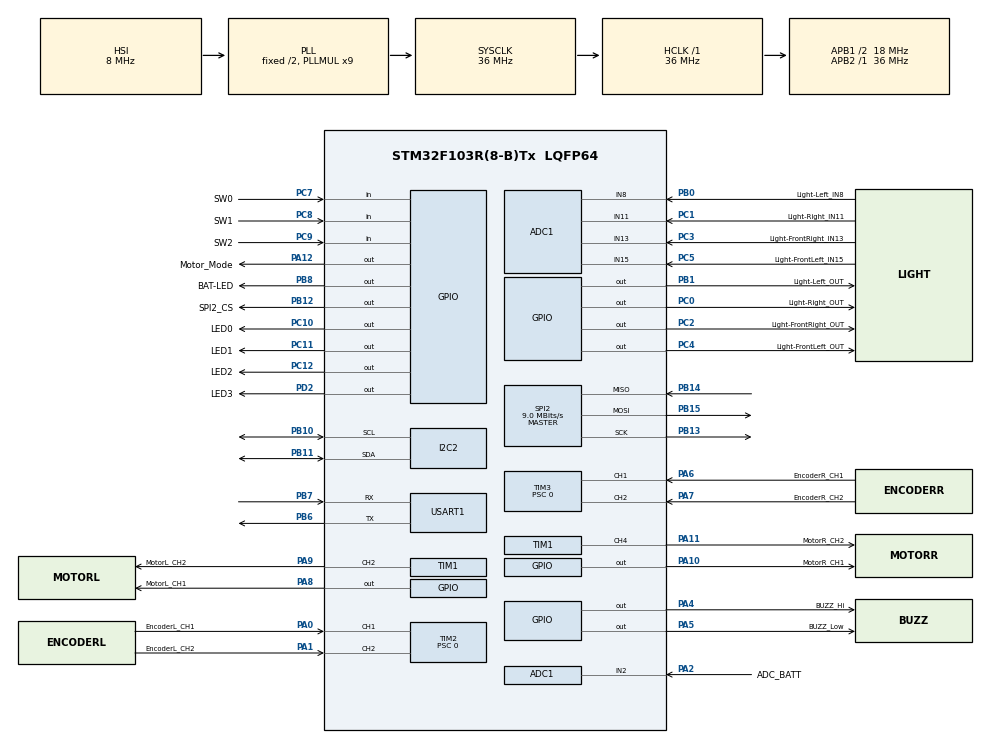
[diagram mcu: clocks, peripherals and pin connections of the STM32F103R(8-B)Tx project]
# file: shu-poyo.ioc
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Mcu.Family=STM32F1
SH.S_TIM1_CH4.0=TIM1_CH4,PWM Generation4 CH4
SPI2.VirtualType=VM_MASTER
PB10.Mode=I2C
SH.ADCx_IN2.0=ADC1_IN2,IN2
ADC1.SamplingTime-6\#ChannelRegularConversion=ADC_SAMPLETIME_28CYCLES_5
PC10.Signal=GPIO_Output
PC12.Signal=GPIO_Output
TIM3.EncoderMode=TIM_ENCODERMODE_TI1
PC0.GPIO_Label=Light-Right_OUT
PA6.GPIO_Label=EncoderR_CH1
PB0.GPIO_Label=Light-Left_IN8
TIM2.EncoderMode=TIM_ENCODERMODE_TI1
PB11.Signal=I2C2_SDA
PB13.Signal=SPI2_SCK
PB15.Signal=SPI2_MOSI
ADC1.Channel-8\#ChannelRegularConversion=ADC_CHANNEL_8
RCC.SYSCLKSource=RCC_SYSCLKSOURCE_PLLCLK
ProjectManager.StackSize=0x400
PD1-OSC_OUT.Signal=RCC_OSC_OUT
PA12.Signal=GPIO_Output
TIM1.Prescaler=1-1
ADC1.Channel-5\#ChannelRegularConversion=ADC_CHANNEL_13
TIM1.Channel-PWM\ Generation4\ CH4=TIM_CHANNEL_4
ADC1.Channel-3\#ChannelRegularConversion=ADC_CHANNEL_15
RCC.HCLKFreq_Value=36000000
RCC.APB2TimFreq_Value=36000000
PB6.Signal=USART1_TX
ADC1.Channel-2\#ChannelRegularConversion=ADC_CHANNEL_11
PC7.Signal=GPIO_Input
PB6.Mode=Asynchronous
PC3.Signal=ADCx_IN13
RCC.AHBFreq_Value=36000000
SPI2.BaudRatePrescaler=SPI_BAUDRATEPRESCALER_2
SH.ADCx_IN15.0=ADC1_IN15,IN15
RCC.PLLMUL=RCC_PLL_MUL9
PB12.GPIO_Label=SPI2_CS
ADC1.SamplingTime-4\#ChannelRegularConversion=ADC_SAMPLETIME_28CYCLES_5
ADC1.Channel-6\#ChannelRegularConversion=ADC_CHANNEL_13
ADC1.Rank-2\#ChannelRegularConversion=2
PC14-OSC32_IN.Mode=LSE-External-Oscillator
PC4.GPIO_Label=Light-FrontLeft_OUT
PA14.Mode=Serial_Wire
PB14.Mode=Full_Duplex_Master
TIM3.Prescaler=0
PB1.GPIO_Label=Light-Left_OUT
PC11.GPIO_Label=LED1
PA10.GPIO_Label=MotorR_CH1
SH.ADCx_IN8.0=ADC1_IN8,IN8
SPI2.CalculateBaudRate=9.0 MBits/s
PB7.Signal=USART1_RX
PA8.Signal=GPIO_Output
SH.S_TIM3_CH1.0=TIM3_CH1,Encoder_Interface
TIM4.Period=1000-1
VP_TIM1_VS_ClockSourceINT.Mode=Internal
Mcu.Package=LQFP64
TIM2.Prescaler=0
PB1.Signal=GPIO_Output
PA6.Signal=S_TIM3_CH1
SPI2.Mode=SPI_MODE_MASTER
PA2.GPIO_Label=ADC_BATT
PA10.Signal=GPIO_Output
RCC.APB1TimFreq_Value=36000000
SPI2.Direction=SPI_DIRECTION_2LINES
PC5.Signal=ADCx_IN15
TIM1.Period=360-1
PB13.Mode=Full_Duplex_Master
ADC1.Rank-6\#ChannelRegularConversion=6
ADC1.SamplingTime-8\#ChannelRegularConversion=ADC_SAMPLETIME_28CYCLES_5
PA4.GPIO_Label=BUZZ_Hi
PC2.GPIO_Label=Light-FrontRight_OUT
ADC1.Rank-4\#ChannelRegularConversion=4
PC15-OSC32_OUT.Mode=LSE-External-Oscillator
SH.ADCx_IN13.0=ADC1_IN13,IN13
PD1-OSC_OUT.Mode=HSE-External-Oscillator
ADC1.Channel-4\#ChannelRegularConversion=ADC_CHANNEL_15
PC10.GPIO_Label=LED0
PC9.GPIO_Label=SW2
ADC1.Rank-8\#ChannelRegularConversion=8
PC11.Signal=GPIO_Output
PA9.GPIO_Label=MotorL_CH2
PC8.Signal=GPIO_Input
PC2.Signal=GPIO_Output
PC4.Signal=GPIO_Output
ADC1.DiscontinuousConvMode=ENABLE
PA11.GPIO_Label=MotorR_CH2
PD0-OSC_IN.Signal=RCC_OSC_IN
PC0.Signal=GPIO_Output
RCC.APB1CLKDivider=RCC_HCLK_DIV2
PC14-OSC32_IN.Signal=RCC_OSC32_IN
PA12.GPIO_Label=Motor_Mode
ADC1.SamplingTime-2\#ChannelRegularConversion=ADC_SAMPLETIME_28CYCLES_5
PA0-WKUP.GPIO_Label=EncoderL_CH1
PA0-WKUP.Signal=S_TIM2_CH1_ETR
ADC1.Channel-7\#ChannelRegularConversion=ADC_CHANNEL_8
RCC.ADCPresc=RCC_ADCPCLK2_DIV6
PC8.GPIO_Label=SW1
PA13.Signal=SYS_JTMS-SWDIO
PB8.GPIO_Label=BAT-LED
SH.S_TIM2_CH2.0=TIM2_CH2,Encoder_Interface
PA8.GPIO_Label=MotorL_CH1
PB11.Mode=I2C
ProjectManager.TargetToolchain=STM32CubeIDE
PA9.Signal=S_TIM1_CH2
ADC1.Channel-1\#ChannelRegularConversion=ADC_CHANNEL_11
TIM1.Channel-PWM\ Generation2\ CH2=TIM_CHANNEL_2
RCC.USBFreq_Value=36000000
TIM4.Prescaler=35
PC15-OSC32_OUT.Signal=RCC_OSC32_OUT
PA1.Signal=S_TIM2_CH2
PD0-OSC_IN.Mode=HSE-External-Oscillator
PB10.Signal=I2C2_SCL
PB14.Signal=SPI2_MISO
PA5.Signal=GPIO_Output
SH.S_TIM3_CH2.0=TIM3_CH2,Encoder_Interface
board=custom
PB15.Mode=Full_Duplex_Master
RCC.APB2Freq_Value=36000000
SH.ADCx_IN11.0=ADC1_IN11,IN11
SH.S_TIM1_CH2.0=TIM1_CH2,PWM Generation2 CH2
PA1.GPIO_Label=EncoderL_CH2
PC1.GPIO_Label=Light-Right_IN11
TIM2.Period=65535
ADC1.Rank-9\#ChannelRegularConversion=9
ADC1.NbrOfConversion=9
PA13.Mode=Serial_Wire
Mcu.Name=STM32F103R(8-B)Tx
PA2.Signal=ADCx_IN2
ADC1.Channel-9\#ChannelRegularConversion=ADC_CHANNEL_2
PC7.GPIO_Label=SW0
PA4.Signal=GPIO_Output
ADC1.SamplingTime-1\#ChannelRegularConversion=ADC_SAMPLETIME_28CYCLES_5
RCC.SYSCLKFreq_VALUE=36000000
PA7.GPIO_Label=EncoderR_CH2
ADC1.master=1
PA5.GPIO_Label=BUZZ_Low
ADC1.Rank-3\#ChannelRegularConversion=3
ADC1.SamplingTime-3\#ChannelRegularConversion=ADC_SAMPLETIME_28CYCLES_5
PC5.GPIO_Label=Light-FrontLeft_IN15
PC12.GPIO_Label=LED2
USART1.VirtualMode=VM_ASYNC
ADC1.Rank-1\#ChannelRegularConversion=1
PA11.Signal=S_TIM1_CH4
PB7.Mode=Asynchronous
SH.S_TIM2_CH1_ETR.0=TIM2_CH1,Encoder_Interface
PA14.Signal=SYS_JTCK-SWCLK
ProjectManager.HeapSize=0x200
ADC1.SamplingTime-5\#ChannelRegularConversion=ADC_SAMPLETIME_28CYCLES_5
VP_TIM4_VS_ClockSourceINT.Mode=Internal
ADC1.Rank-7\#ChannelRegularConversion=7
NVIC.PriorityGroup=NVIC_PRIORITYGROUP_4
ADC1.NbrOfConversionFlag=1
PB8.Signal=GPIO_Output
PC3.GPIO_Label=Light-FrontRight_IN13
ADC1.SamplingTime-9\#ChannelRegularConversion=ADC_SAMPLETIME_28CYCLES_5
PC9.Signal=GPIO_Input
ADC1.SamplingTime-7\#ChannelRegularConversion=ADC_SAMPLETIME_28CYCLES_5
PD2.Signal=GPIO_Output
NVIC.TIM4_IRQn=true\:0\:0\:false\:false\:true\:true\:true
RCC.APB1Freq_Value=18000000
PB0.Signal=ADCx_IN8
ADC1.Rank-5\#ChannelRegularConversion=5
PC1.Signal=ADCx_IN11
PB12.Signal=GPIO_Output
PD2.GPIO_Label=LED3
PA7.Signal=S_TIM3_CH2

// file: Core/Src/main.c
/* USER CODE BEGIN Header */
/**
  ******************************************************************************
  * @file           : main.c
  * @brief          : Main program body
  ******************************************************************************
  * @attention
  *
  * <h2><center>&copy; Copyright (c) 2021 STMicroelectronics.
  * All rights reserved.</center></h2>
  *
  * This software component is licensed by ST under BSD 3-Clause license,
  * the "License"; You may not use this file except in compliance with the
  * License. You may obtain a copy of the License at:
  *                        opensource.org/licenses/BSD-3-Clause
  *
  ******************************************************************************
  */
/* USER CODE END Header */
#include "main.h"

/* USER CODE BEGIN Includes */
#include "global_var.h"
#include "parameters.h"

#include "adc_batt.h"
#include "motors.h"
#include "sensors.h"

#include "adjust.h"
#include "run.h"
/* USER CODE END Includes */

ADC_HandleTypeDef hadc1;

I2C_HandleTypeDef hi2c2;

SPI_HandleTypeDef hspi2;

TIM_HandleTypeDef htim1;
TIM_HandleTypeDef htim2;
TIM_HandleTypeDef htim3;
TIM_HandleTypeDef htim4;

UART_HandleTypeDef huart1;

void SystemClock_Config(void);
static void MX_GPIO_Init(void);
static void MX_TIM1_Init(void);
static void MX_TIM2_Init(void);
static void MX_TIM3_Init(void);
static void MX_TIM4_Init(void);
static void MX_ADC1_Init(void);
static void MX_USART1_UART_Init(void);
static void MX_I2C2_Init(void);
static void MX_SPI2_Init(void);

/* USER CODE BEGIN 0 */
int __io_putchar(int ch){
  HAL_UART_Transmit(&huart1, (uint8_t *)&ch, 1, 100);
  return ch;
}

void mode_LED(int mode){
  if(mode&0x01){
    LED1_ON;
  }else{
    LED1_OFF;
  }
  if((mode>>1)&0x01){
    LED2_ON;
  }else{
    LED2_OFF;
  }
  if((mode>>2)&0x01){
    LED3_ON;
  }else{
    LED3_OFF;
  }
}

void exec_mode(int mode){
  // Clears the terminal
  printf("\x1b[2J");
  // Moves the cursor to 0, 0 of the terminal
  printf("\x1b[0;0H");
  mode_LED(0);
  HAL_Delay(50);
  start_motors();
  HAL_Delay(50);

  switch(mode){
    case 1:
      straight(HALF_SECTION, SEARCH_ACCEL, 0.0, SEARCH_SPEED, 0.0);
      break;
    case 2:
      get_encoder_val();
      motor_encode_init();
      break;
    case 3:
      break;
    case 4:
      // Testing a couple of things here
      back(HALF_SECTION*0.2, SEARCH_ACCEL*0.5, 0.0, SEARCH_SPEED*0.5, 0.0);
      HAL_Delay(50);
      straight(HALF_SECTION*0.4, SEARCH_ACCEL*0.5, 0.0, SEARCH_SPEED*0.5, 0.0);
      HAL_Delay(50);
      test_left_hand(SEARCH_ACCEL, 0.0, SEARCH_SPEED);
      break;
    case 5:
      // Get the sensor values
      stop_motors();
      while(1){
        get_sensor_values();
        get_encoder_val();
        HAL_Delay(50);
        printf("\x1B[2J"); // Clears the terminal
        printf("\x1B[0;0H"); // Moves the cursor to the top
      }
      break;
    case 6:
      // straight(HALF_SECTION, SEARCH_ACCEL, 0.0, SEARCH_SPEED, 0.0);
      NEXT_DIR = NEXT_LEFT;
      rotate(NEXT_DIR, 1);
      break;
    case 7:
      run_to_wall(SEARCH_ACCEL, 0.0, SEARCH_SPEED);
      break;
  }

  stop_motors();
}
/* USER CODE END 0 */

int main(void)
{

  /* MCU Configuration--------------------------------------------------------*/

  /* Reset of all peripherals, Initializes the Flash interface and the Systick. */
  HAL_Init();

  /* Configure the system clock */
  SystemClock_Config();

  /* Initialize all configured peripherals */
  MX_GPIO_Init();
  MX_TIM1_Init();
  MX_TIM2_Init();
  MX_TIM3_Init();
  MX_TIM4_Init();
  MX_ADC1_Init();
  MX_USART1_UART_Init();
  MX_I2C2_Init();
  MX_SPI2_Init();
  /* USER CODE BEGIN 2 */
  // Printf thing
  setbuf(stdout, NULL);
  int mode = 1;
  // Buzzer things
  BUZZER_LO_OFF;
  BUZZER_HI_OFF;
  // Motor settings
  MOTOR_MODE_SET_PE;
  stop_motors();
  // Initiate the parameters
  duty_rate = 0.0;
  sensors_init();
  speed_val_init();
  motor_encode_init();
  // Start the encoders
  HAL_TIM_Encoder_Start(&htim2, TIM_CHANNEL_ALL);
  HAL_TIM_Encoder_Start(&htim3, TIM_CHANNEL_ALL);
  // Start TIM4
  HAL_TIM_Base_Start_IT(&htim4);
  // Turns LED0 ON!
  LED0_ON;
  printf("Initiated! \n\r");
  /* USER CODE END 2 */

  /* Infinite loop */
  /* USER CODE BEGIN WHILE */
  while (1)
  {
    HAL_Delay(CHATTERING_WAIT);
    while(!(READ_SW0 & READ_SW1 & READ_SW2));

    mode_LED(mode);

    HAL_Delay(CHATTERING_WAIT);
    while((READ_SW0 & READ_SW1 & READ_SW2));

    if(READ_SW2 == SW_ON){
      // Decrease the mode
      // Making sure it doesn't go below 1
      mode--;
      if(mode < 1) mode = 1;

    }else if(READ_SW1 == SW_ON){

      exec_mode(mode);

    }else if(READ_SW0 == SW_ON){
      // Increase the mode
      // Making sure it doesn't go above 7
      mode++;
      if(mode > 7) mode = 7;

    }

    /* USER CODE END WHILE */

    /* USER CODE BEGIN 3 */
    // TODO: Toggle the LED every second. it might be good to add this in adc_batt.c
    // if(!BATT_LEVEL) LED0_OFF;
  }
  /* USER CODE END 3 */
}

void SystemClock_Config(void)
{
  RCC_OscInitTypeDef RCC_OscInitStruct = {0};
  RCC_ClkInitTypeDef RCC_ClkInitStruct = {0};
  RCC_PeriphCLKInitTypeDef PeriphClkInit = {0};

  /** Initializes the RCC Oscillators according to the specified parameters
  * in the RCC_OscInitTypeDef structure.
  */
  RCC_OscInitStruct.OscillatorType = RCC_OSCILLATORTYPE_HSI;
  RCC_OscInitStruct.HSIState = RCC_HSI_ON;
  RCC_OscInitStruct.HSICalibrationValue = RCC_HSICALIBRATION_DEFAULT;
  RCC_OscInitStruct.PLL.PLLState = RCC_PLL_ON;
  RCC_OscInitStruct.PLL.PLLSource = RCC_PLLSOURCE_HSI_DIV2;
  RCC_OscInitStruct.PLL.PLLMUL = RCC_PLL_MUL9;
  if (HAL_RCC_OscConfig(&RCC_OscInitStruct) != HAL_OK)
  {
    Error_Handler();
  }
  /** Initializes the CPU, AHB and APB buses clocks
  */
  RCC_ClkInitStruct.ClockType = RCC_CLOCKTYPE_HCLK|RCC_CLOCKTYPE_SYSCLK
                              |RCC_CLOCKTYPE_PCLK1|RCC_CLOCKTYPE_PCLK2;
  RCC_ClkInitStruct.SYSCLKSource = RCC_SYSCLKSOURCE_PLLCLK;
  RCC_ClkInitStruct.AHBCLKDivider = RCC_SYSCLK_DIV1;
  RCC_ClkInitStruct.APB1CLKDivider = RCC_HCLK_DIV2;
  RCC_ClkInitStruct.APB2CLKDivider = RCC_HCLK_DIV1;

  if (HAL_RCC_ClockConfig(&RCC_ClkInitStruct, FLASH_LATENCY_1) != HAL_OK)
  {
    Error_Handler();
  }
  PeriphClkInit.PeriphClockSelection = RCC_PERIPHCLK_ADC;
  PeriphClkInit.AdcClockSelection = RCC_ADCPCLK2_DIV6;
  if (HAL_RCCEx_PeriphCLKConfig(&PeriphClkInit) != HAL_OK)
  {
    Error_Handler();
  }
}

static void MX_ADC1_Init(void)
{

  ADC_ChannelConfTypeDef sConfig = {0};

  /** Common config
  */
  hadc1.Instance = ADC1;
  hadc1.Init.ScanConvMode = ADC_SCAN_ENABLE;
  hadc1.Init.ContinuousConvMode = DISABLE;
  hadc1.Init.DiscontinuousConvMode = ENABLE;
  hadc1.Init.NbrOfDiscConversion = 1;
  hadc1.Init.ExternalTrigConv = ADC_SOFTWARE_START;
  hadc1.Init.DataAlign = ADC_DATAALIGN_RIGHT;
  hadc1.Init.NbrOfConversion = 9;
  if (HAL_ADC_Init(&hadc1) != HAL_OK)
  {
    Error_Handler();
  }
  /** Configure Regular Channel
  */
  sConfig.Channel = ADC_CHANNEL_11;
  sConfig.Rank = ADC_REGULAR_RANK_1;
  sConfig.SamplingTime = ADC_SAMPLETIME_28CYCLES_5;
  if (HAL_ADC_ConfigChannel(&hadc1, &sConfig) != HAL_OK)
  {
    Error_Handler();
  }
  /** Configure Regular Channel
  */
  sConfig.Rank = ADC_REGULAR_RANK_2;
  if (HAL_ADC_ConfigChannel(&hadc1, &sConfig) != HAL_OK)
  {
    Error_Handler();
  }
  /** Configure Regular Channel
  */
  sConfig.Channel = ADC_CHANNEL_15;
  sConfig.Rank = ADC_REGULAR_RANK_3;
  if (HAL_ADC_ConfigChannel(&hadc1, &sConfig) != HAL_OK)
  {
    Error_Handler();
  }
  /** Configure Regular Channel
  */
  sConfig.Rank = ADC_REGULAR_RANK_4;
  if (HAL_ADC_ConfigChannel(&hadc1, &sConfig) != HAL_OK)
  {
    Error_Handler();
  }
  /** Configure Regular Channel
  */
  sConfig.Channel = ADC_CHANNEL_13;
  sConfig.Rank = ADC_REGULAR_RANK_5;
  if (HAL_ADC_ConfigChannel(&hadc1, &sConfig) != HAL_OK)
  {
    Error_Handler();
  }
  /** Configure Regular Channel
  */
  sConfig.Rank = ADC_REGULAR_RANK_6;
  if (HAL_ADC_ConfigChannel(&hadc1, &sConfig) != HAL_OK)
  {
    Error_Handler();
  }
  /** Configure Regular Channel
  */
  sConfig.Channel = ADC_CHANNEL_8;
  sConfig.Rank = ADC_REGULAR_RANK_7;
  if (HAL_ADC_ConfigChannel(&hadc1, &sConfig) != HAL_OK)
  {
    Error_Handler();
  }
  /** Configure Regular Channel
  */
  sConfig.Rank = ADC_REGULAR_RANK_8;
  if (HAL_ADC_ConfigChannel(&hadc1, &sConfig) != HAL_OK)
  {
    Error_Handler();
  }
  /** Configure Regular Channel
  */
  sConfig.Channel = ADC_CHANNEL_2;
  sConfig.Rank = ADC_REGULAR_RANK_9;
  if (HAL_ADC_ConfigChannel(&hadc1, &sConfig) != HAL_OK)
  {
    Error_Handler();
  }

}

static void MX_I2C2_Init(void)
{

  hi2c2.Instance = I2C2;
  hi2c2.Init.ClockSpeed = 100000;
  hi2c2.Init.DutyCycle = I2C_DUTYCYCLE_2;
  hi2c2.Init.OwnAddress1 = 0;
  hi2c2.Init.AddressingMode = I2C_ADDRESSINGMODE_7BIT;
  hi2c2.Init.DualAddressMode = I2C_DUALADDRESS_DISABLE;
  hi2c2.Init.OwnAddress2 = 0;
  hi2c2.Init.GeneralCallMode = I2C_GENERALCALL_DISABLE;
  hi2c2.Init.NoStretchMode = I2C_NOSTRETCH_DISABLE;
  if (HAL_I2C_Init(&hi2c2) != HAL_OK)
  {
    Error_Handler();
  }

}

static void MX_SPI2_Init(void)
{

  /* SPI2 parameter configuration*/
  hspi2.Instance = SPI2;
  hspi2.Init.Mode = SPI_MODE_MASTER;
  hspi2.Init.Direction = SPI_DIRECTION_2LINES;
  hspi2.Init.DataSize = SPI_DATASIZE_8BIT;
  hspi2.Init.CLKPolarity = SPI_POLARITY_LOW;
  hspi2.Init.CLKPhase = SPI_PHASE_1EDGE;
  hspi2.Init.NSS = SPI_NSS_SOFT;
  hspi2.Init.BaudRatePrescaler = SPI_BAUDRATEPRESCALER_2;
  hspi2.Init.FirstBit = SPI_FIRSTBIT_MSB;
  hspi2.Init.TIMode = SPI_TIMODE_DISABLE;
  hspi2.Init.CRCCalculation = SPI_CRCCALCULATION_DISABLE;
  hspi2.Init.CRCPolynomial = 10;
  if (HAL_SPI_Init(&hspi2) != HAL_OK)
  {
    Error_Handler();
  }

}

static void MX_TIM1_Init(void)
{

  TIM_ClockConfigTypeDef sClockSourceConfig = {0};
  TIM_MasterConfigTypeDef sMasterConfig = {0};
  TIM_OC_InitTypeDef sConfigOC = {0};
  TIM_BreakDeadTimeConfigTypeDef sBreakDeadTimeConfig = {0};

  htim1.Instance = TIM1;
  htim1.Init.Prescaler = 1-1;
  htim1.Init.CounterMode = TIM_COUNTERMODE_UP;
  htim1.Init.Period = 360-1;
  htim1.Init.ClockDivision = TIM_CLOCKDIVISION_DIV1;
  htim1.Init.RepetitionCounter = 0;
  htim1.Init.AutoReloadPreload = TIM_AUTORELOAD_PRELOAD_DISABLE;
  if (HAL_TIM_Base_Init(&htim1) != HAL_OK)
  {
    Error_Handler();
  }
  sClockSourceConfig.ClockSource = TIM_CLOCKSOURCE_INTERNAL;
  if (HAL_TIM_ConfigClockSource(&htim1, &sClockSourceConfig) != HAL_OK)
  {
    Error_Handler();
  }
  if (HAL_TIM_PWM_Init(&htim1) != HAL_OK)
  {
    Error_Handler();
  }
  sMasterConfig.MasterOutputTrigger = TIM_TRGO_RESET;
  sMasterConfig.MasterSlaveMode = TIM_MASTERSLAVEMODE_DISABLE;
  if (HAL_TIMEx_MasterConfigSynchronization(&htim1, &sMasterConfig) != HAL_OK)
  {
    Error_Handler();
  }
  sConfigOC.OCMode = TIM_OCMODE_PWM1;
  sConfigOC.Pulse = 0;
  sConfigOC.OCPolarity = TIM_OCPOLARITY_HIGH;
  sConfigOC.OCNPolarity = TIM_OCNPOLARITY_HIGH;
  sConfigOC.OCFastMode = TIM_OCFAST_DISABLE;
  sConfigOC.OCIdleState = TIM_OCIDLESTATE_RESET;
  sConfigOC.OCNIdleState = TIM_OCNIDLESTATE_RESET;
  if (HAL_TIM_PWM_ConfigChannel(&htim1, &sConfigOC, TIM_CHANNEL_2) != HAL_OK)
  {
    Error_Handler();
  }
  if (HAL_TIM_PWM_ConfigChannel(&htim1, &sConfigOC, TIM_CHANNEL_4) != HAL_OK)
  {
    Error_Handler();
  }
  sBreakDeadTimeConfig.OffStateRunMode = TIM_OSSR_DISABLE;
  sBreakDeadTimeConfig.OffStateIDLEMode = TIM_OSSI_DISABLE;
  sBreakDeadTimeConfig.LockLevel = TIM_LOCKLEVEL_OFF;
  sBreakDeadTimeConfig.DeadTime = 0;
  sBreakDeadTimeConfig.BreakState = TIM_BREAK_DISABLE;
  sBreakDeadTimeConfig.BreakPolarity = TIM_BREAKPOLARITY_HIGH;
  sBreakDeadTimeConfig.AutomaticOutput = TIM_AUTOMATICOUTPUT_DISABLE;
  if (HAL_TIMEx_ConfigBreakDeadTime(&htim1, &sBreakDeadTimeConfig) != HAL_OK)
  {
    Error_Handler();
  }
  HAL_TIM_MspPostInit(&htim1);

}

static void MX_TIM2_Init(void)
{

  TIM_Encoder_InitTypeDef sConfig = {0};
  TIM_MasterConfigTypeDef sMasterConfig = {0};

  htim2.Instance = TIM2;
  htim2.Init.Prescaler = 0;
  htim2.Init.CounterMode = TIM_COUNTERMODE_UP;
  htim2.Init.Period = 65535;
  htim2.Init.ClockDivision = TIM_CLOCKDIVISION_DIV1;
  htim2.Init.AutoReloadPreload = TIM_AUTORELOAD_PRELOAD_DISABLE;
  sConfig.EncoderMode = TIM_ENCODERMODE_TI1;
  sConfig.IC1Polarity = TIM_ICPOLARITY_RISING;
  sConfig.IC1Selection = TIM_ICSELECTION_DIRECTTI;
  sConfig.IC1Prescaler = TIM_ICPSC_DIV1;
  sConfig.IC1Filter = 0;
  sConfig.IC2Polarity = TIM_ICPOLARITY_RISING;
  sConfig.IC2Selection = TIM_ICSELECTION_DIRECTTI;
  sConfig.IC2Prescaler = TIM_ICPSC_DIV1;
  sConfig.IC2Filter = 0;
  if (HAL_TIM_Encoder_Init(&htim2, &sConfig) != HAL_OK)
  {
    Error_Handler();
  }
  sMasterConfig.MasterOutputTrigger = TIM_TRGO_RESET;
  sMasterConfig.MasterSlaveMode = TIM_MASTERSLAVEMODE_DISABLE;
  if (HAL_TIMEx_MasterConfigSynchronization(&htim2, &sMasterConfig) != HAL_OK)
  {
    Error_Handler();
  }

}

static void MX_TIM3_Init(void)
{

  TIM_Encoder_InitTypeDef sConfig = {0};
  TIM_MasterConfigTypeDef sMasterConfig = {0};

  htim3.Instance = TIM3;
  htim3.Init.Prescaler = 0;
  htim3.Init.CounterMode = TIM_COUNTERMODE_UP;
  htim3.Init.Period = 65535;
  htim3.Init.ClockDivision = TIM_CLOCKDIVISION_DIV1;
  htim3.Init.AutoReloadPreload = TIM_AUTORELOAD_PRELOAD_DISABLE;
  sConfig.EncoderMode = TIM_ENCODERMODE_TI1;
  sConfig.IC1Polarity = TIM_ICPOLARITY_RISING;
  sConfig.IC1Selection = TIM_ICSELECTION_DIRECTTI;
  sConfig.IC1Prescaler = TIM_ICPSC_DIV1;
  sConfig.IC1Filter = 0;
  sConfig.IC2Polarity = TIM_ICPOLARITY_RISING;
  sConfig.IC2Selection = TIM_ICSELECTION_DIRECTTI;
  sConfig.IC2Prescaler = TIM_ICPSC_DIV1;
  sConfig.IC2Filter = 0;
  if (HAL_TIM_Encoder_Init(&htim3, &sConfig) != HAL_OK)
  {
    Error_Handler();
  }
  sMasterConfig.MasterOutputTrigger = TIM_TRGO_RESET;
  sMasterConfig.MasterSlaveMode = TIM_MASTERSLAVEMODE_DISABLE;
  if (HAL_TIMEx_MasterConfigSynchronization(&htim3, &sMasterConfig) != HAL_OK)
  {
    Error_Handler();
  }

}

static void MX_TIM4_Init(void)
{

  TIM_ClockConfigTypeDef sClockSourceConfig = {0};
  TIM_MasterConfigTypeDef sMasterConfig = {0};

  htim4.Instance = TIM4;
  htim4.Init.Prescaler = 35;
  htim4.Init.CounterMode = TIM_COUNTERMODE_UP;
  htim4.Init.Period = 1000-1;
  htim4.Init.ClockDivision = TIM_CLOCKDIVISION_DIV1;
  htim4.Init.AutoReloadPreload = TIM_AUTORELOAD_PRELOAD_DISABLE;
  if (HAL_TIM_Base_Init(&htim4) != HAL_OK)
  {
    Error_Handler();
  }
  sClockSourceConfig.ClockSource = TIM_CLOCKSOURCE_INTERNAL;
  if (HAL_TIM_ConfigClockSource(&htim4, &sClockSourceConfig) != HAL_OK)
  {
    Error_Handler();
  }
  sMasterConfig.MasterOutputTrigger = TIM_TRGO_RESET;
  sMasterConfig.MasterSlaveMode = TIM_MASTERSLAVEMODE_DISABLE;
  if (HAL_TIMEx_MasterConfigSynchronization(&htim4, &sMasterConfig) != HAL_OK)
  {
    Error_Handler();
  }

}

static void MX_USART1_UART_Init(void)
{

  huart1.Instance = USART1;
  huart1.Init.BaudRate = 115200;
  huart1.Init.WordLength = UART_WORDLENGTH_8B;
  huart1.Init.StopBits = UART_STOPBITS_1;
  huart1.Init.Parity = UART_PARITY_NONE;
  huart1.Init.Mode = UART_MODE_TX_RX;
  huart1.Init.HwFlowCtl = UART_HWCONTROL_NONE;
  huart1.Init.OverSampling = UART_OVERSAMPLING_16;
  if (HAL_UART_Init(&huart1) != HAL_OK)
  {
    Error_Handler();
  }

}

static void MX_GPIO_Init(void)
{
  GPIO_InitTypeDef GPIO_InitStruct = {0};

  /* GPIO Ports Clock Enable */
  __HAL_RCC_GPIOC_CLK_ENABLE();
  __HAL_RCC_GPIOD_CLK_ENABLE();
  __HAL_RCC_GPIOA_CLK_ENABLE();
  __HAL_RCC_GPIOB_CLK_ENABLE();

  /*Configure GPIO pin Output Level */
  HAL_GPIO_WritePin(GPIOC, Light_Right_OUT_Pin|Light_FrontRight_OUT_Pin|Light_FrontLeft_OUT_Pin|LED0_Pin
                          |LED1_Pin|LED2_Pin, GPIO_PIN_RESET);

  /*Configure GPIO pin Output Level */
  HAL_GPIO_WritePin(GPIOA, BUZZ_Hi_Pin|BUZZ_Low_Pin|MotorL_CH1_Pin|MotorR_CH1_Pin
                          |Motor_Mode_Pin, GPIO_PIN_RESET);

  /*Configure GPIO pin Output Level */
  HAL_GPIO_WritePin(GPIOB, Light_Left_OUT_Pin|SPI2_CS_Pin|BAT_LED_Pin, GPIO_PIN_RESET);

  /*Configure GPIO pin Output Level */
  HAL_GPIO_WritePin(LED3_GPIO_Port, LED3_Pin, GPIO_PIN_RESET);

  /*Configure GPIO pins : Light_Right_OUT_Pin Light_FrontRight_OUT_Pin Light_FrontLeft_OUT_Pin LED0_Pin
                           LED1_Pin LED2_Pin */
  GPIO_InitStruct.Pin = Light_Right_OUT_Pin|Light_FrontRight_OUT_Pin|Light_FrontLeft_OUT_Pin|LED0_Pin
                          |LED1_Pin|LED2_Pin;
  GPIO_InitStruct.Mode = GPIO_MODE_OUTPUT_PP;
  GPIO_InitStruct.Pull = GPIO_NOPULL;
  GPIO_InitStruct.Speed = GPIO_SPEED_FREQ_LOW;
  HAL_GPIO_Init(GPIOC, &GPIO_InitStruct);

  /*Configure GPIO pins : BUZZ_Hi_Pin BUZZ_Low_Pin MotorL_CH1_Pin MotorR_CH1_Pin
                           Motor_Mode_Pin */
  GPIO_InitStruct.Pin = BUZZ_Hi_Pin|BUZZ_Low_Pin|MotorL_CH1_Pin|MotorR_CH1_Pin
                          |Motor_Mode_Pin;
  GPIO_InitStruct.Mode = GPIO_MODE_OUTPUT_PP;
  GPIO_InitStruct.Pull = GPIO_NOPULL;
  GPIO_InitStruct.Speed = GPIO_SPEED_FREQ_LOW;
  HAL_GPIO_Init(GPIOA, &GPIO_InitStruct);

  /*Configure GPIO pins : Light_Left_OUT_Pin SPI2_CS_Pin BAT_LED_Pin */
  GPIO_InitStruct.Pin = Light_Left_OUT_Pin|SPI2_CS_Pin|BAT_LED_Pin;
  GPIO_InitStruct.Mode = GPIO_MODE_OUTPUT_PP;
  GPIO_InitStruct.Pull = GPIO_NOPULL;
  GPIO_InitStruct.Speed = GPIO_SPEED_FREQ_LOW;
  HAL_GPIO_Init(GPIOB, &GPIO_InitStruct);

  /*Configure GPIO pins : SW0_Pin SW1_Pin SW2_Pin */
  GPIO_InitStruct.Pin = SW0_Pin|SW1_Pin|SW2_Pin;
  GPIO_InitStruct.Mode = GPIO_MODE_INPUT;
  GPIO_InitStruct.Pull = GPIO_NOPULL;
  HAL_GPIO_Init(GPIOC, &GPIO_InitStruct);

  /*Configure GPIO pin : LED3_Pin */
  GPIO_InitStruct.Pin = LED3_Pin;
  GPIO_InitStruct.Mode = GPIO_MODE_OUTPUT_PP;
  GPIO_InitStruct.Pull = GPIO_NOPULL;
  GPIO_InitStruct.Speed = GPIO_SPEED_FREQ_LOW;
  HAL_GPIO_Init(LED3_GPIO_Port, &GPIO_InitStruct);

}

void Error_Handler(void)
{
  __disable_irq();
  while (1)
  {
  }
}

/************************ (C) COPYRIGHT STMicroelectronics *****END OF FILE****/
